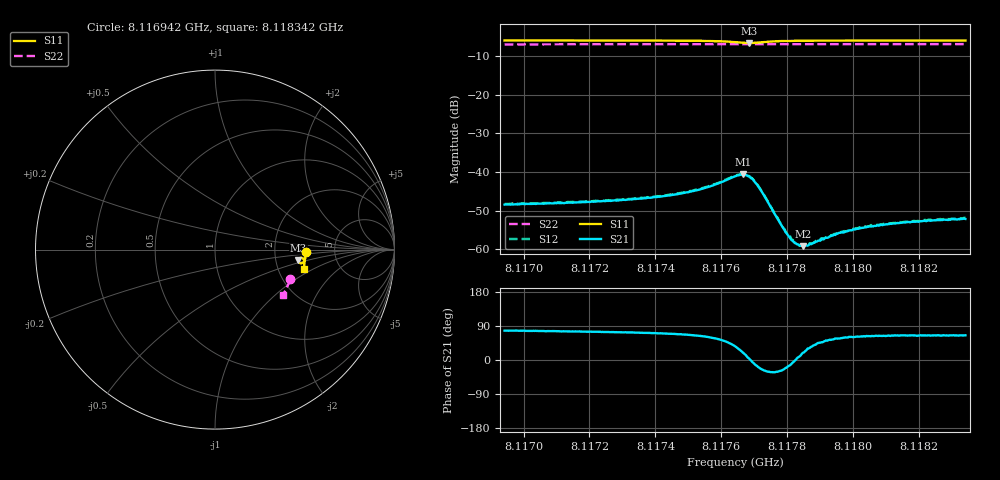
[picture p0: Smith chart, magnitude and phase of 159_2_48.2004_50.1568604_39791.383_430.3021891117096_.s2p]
#  HZ  S  RI  R  50.00
! Rohde & Schwarz Vector Network Analyzer
! Rohde-Schwarz,ZNB20-2Port,1311601062101988,3.16
! Created: UTC 3/20/2024, 11:43:08 AM
! freq[Hz]  re:S11  im:S11  re:S21  im:S21  re:S12  im:S12  re:S22  im:S22
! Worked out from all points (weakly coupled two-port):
!   401 points, 8.116942 GHz to 8.118342 GHz, reference 50 ohm
!   highest |S21| = -40.56 dB at 8.117666 GHz (marker M1); lowest = -59.2 dB at 8.117848 GHz (marker M2)
!   lowest |S11| = -6.6 dB at 8.117684 GHz (marker M3), VSWR 2.76, Z = 134 - j20.2 ohm
!   |S11| at or under -10 dB: nowhere
!   |S22| runs from -6.9 to -6.8 dB; largest |S21 - S12| = 0.00032
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8.1169422e9  0.506 -0.0125  0.000821 0.0037  0.000892 0.0038  0.4191 -0.1656
8.1171766e9  0.5047 -0.0313  0.00106 0.00395  0.00111 0.004  0.4133 -0.181
8.117411e9  0.5016 -0.0517  0.00162 0.00452  0.00168 0.00458  0.4071 -0.1961
8.1175335e9  0.4969 -0.0651  0.00263 0.00533  0.00273 0.00543  0.4033 -0.2041
8.1175894e9  0.4904 -0.0725  0.00403 0.00584  0.00414 0.0059  0.4014 -0.2077
8.1176419e9  0.4755 -0.0757  0.00708 0.00524  0.00732 0.00526  0.3992 -0.2109
8.1176664e9  0.4661 -0.0685  0.00883 0.00316  0.00896 0.00301  0.3982 -0.2118
8.1176839e9  0.4642 -0.0587  0.00886 0.000715  0.00893 0.00052  0.3978 -0.2125
8.1177014e9  0.469 -0.0497  0.00736 -0.0014  0.00751 -0.00155  0.3975 -0.2131
8.1177154e9  0.4753 -0.0462  0.00588 -0.00219  0.00595 -0.00228  0.3974 -0.2138
8.1177818e9  0.4941 -0.0536  0.00184 -0.000995  0.00186 -0.00101  0.3964 -0.2184
8.1178063e9  0.4963 -0.0579  0.00141 -0.000382  0.00142 -0.000382  0.3956 -0.2202
8.1178168e9  0.4969 -0.0597  0.00128 -0.000152  0.00132 -0.000184  0.3954 -0.2208
8.1178308e9  0.4975 -0.0618  0.00116 0.00011  0.00119 9.48e-05  0.3949 -0.2216
8.1178483e9  0.4979 -0.0641  0.00104 0.000359  0.00105 0.000333  0.3944 -0.2229
8.1178763e9  0.4984 -0.0677  0.000965 0.000696  0.000966 0.00071  0.3935 -0.2247
8.1179008e9  0.4986 -0.0705  0.000896 0.000931  0.000915 0.001  0.3927 -0.2262
8.1179568e9  0.4983 -0.0765  0.000897 0.00136  0.000915 0.00136  0.3908 -0.2298
8.1179952e9  0.498 -0.0803  0.000854 0.00154  0.000884 0.00159  0.3898 -0.2323
8.1180617e9  0.4973 -0.0861  0.000895 0.00177  0.000939 0.00181  0.3873 -0.2363
8.1181107e9  0.4968 -0.0904  0.000922 0.00192  0.000981 0.00194  0.3856 -0.2393
8.1183416e9  0.4931 -0.1088  0.00104 0.00225  0.0011 0.0023  0.3774 -0.2534
